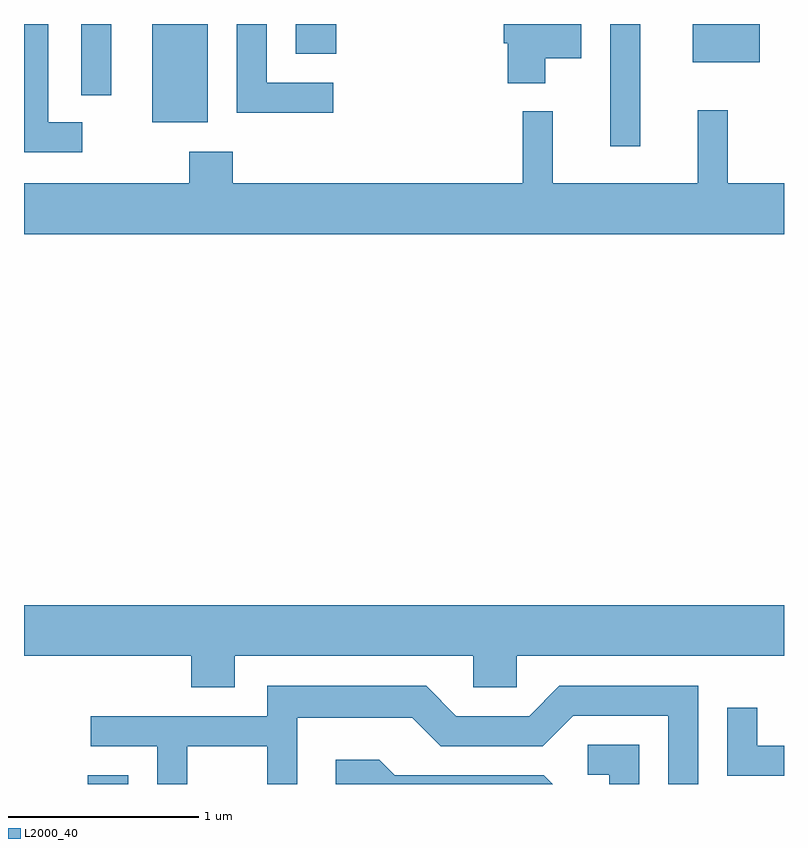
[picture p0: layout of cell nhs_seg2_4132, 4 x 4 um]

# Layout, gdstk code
import gdstk
lib = gdstk.Library(unit=1e-6, precision=1e-09)
def R(c, l, rs):  # rectangles x0, y0, x1, y1
    for r in rs: c.add(gdstk.rectangle(r[:2], r[2:], *l))
def P(c, l, *ps):  # polygons
    for p in ps: c.add(gdstk.Polygon(p, *l))
L2000_40 = (2000, 40)

nhs_seg2_4132 = lib.new_cell('nhs_seg2_4132')
R(nhs_seg2_4132, L2000_40, [(305.946,1109.802,306.159,1109.849), (308.696,1113.158,308.854,1113.802), (306.286,1113.286,306.579,1113.802), (305.911,1113.428,306.069,1113.802), (309.131,1113.601,309.484,1113.802), (307.041,1113.646,307.254,1113.802)])
P(nhs_seg2_4132, L2000_40, [(308.354,1113.621),(308.544,1113.621),(308.544,1113.802),(308.136,1113.802),(308.136,1113.701),(308.156,1113.701),(308.156,1113.491),(308.354,1113.491)],
  [(305.918,1113.284),(305.739,1113.284),(305.739,1113.802),(305.611,1113.802),(305.611,1113.126),(305.918,1113.126)],
  [(307.238,1113.494),(306.889,1113.494),(306.889,1113.802),(306.731,1113.802),(306.731,1113.336),(307.238,1113.336)],
  [(306.481,1113.129),(306.481,1112.964),(305.611,1112.964),(305.611,1112.696),(309.611,1112.696),(309.611,1112.964),(309.314,1112.964),(309.314,1113.348),(309.156,1113.348),(309.156,1112.964),(308.394,1112.964),(308.394,1113.343),(308.236,1113.343),(308.236,1112.964),(306.709,1112.964),(306.709,1113.129)],
  [(306.719,1110.476),(307.976,1110.476),(307.976,1110.311),(308.204,1110.311),(308.204,1110.476),(309.611,1110.476),(309.611,1110.744),(305.611,1110.744),(305.611,1110.476),(306.491,1110.476),(306.491,1110.311),(306.719,1110.311)],
  [(306.469,1110.001),(306.891,1110.001),(306.891,1109.802),(307.049,1109.802),(307.049,1110.151),(307.654,1110.151),(307.804,1110.001),(308.342,1110.001),(308.502,1110.161),(309.001,1110.161),(309.001,1109.802),(309.159,1109.802),(309.159,1110.319),(308.429,1110.319),(308.269,1110.159),(307.887,1110.159),(307.727,1110.319),(306.891,1110.319),(306.891,1110.159),(305.963,1110.159),(305.963,1110.001),(306.311,1110.001),(306.311,1109.802),(306.469,1109.802)],
  [(309.611,1110.004),(309.469,1110.004),(309.469,1110.203),(309.311,1110.203),(309.311,1109.846),(309.611,1109.846)],
  [(308.849,1110.009),(308.578,1110.009),(308.578,1109.851),(308.691,1109.851),(308.691,1109.802),(308.849,1109.802)],
  [(308.347,1109.849),(307.562,1109.849),(307.482,1109.929),(307.253,1109.929),(307.253,1109.802),(308.394,1109.802)])

lib.write_gds('nhs_seg2_4132.gds')
